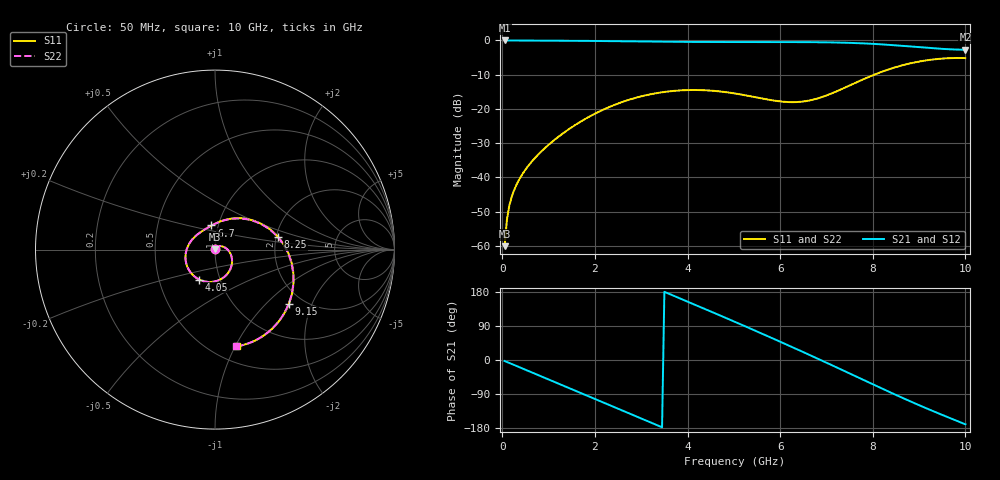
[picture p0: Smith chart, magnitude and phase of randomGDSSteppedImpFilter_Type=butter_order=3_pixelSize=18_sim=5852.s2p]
! freq	dB(S11)	phase(S11)	dB(S12)	phase(S12)
!  dB(S21)	phase(S21)	dB(S22)	phase(S22)
!S-par simulation data
#  GHz  S  DB  R 50
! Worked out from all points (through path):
!   200 points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, 50 MHz to 10 GHz, reference 50 ohm
!   highest |S21| = 0.00 dB at 50 MHz (marker M1); lowest = -2.7 dB at 10 GHz (marker M2)
!   group delay of S21, straight-line fit = 148 ps
!   lowest |S11| = -60.1 dB at 50 MHz (marker M3), VSWR 1.00, Z = 50 + j0.0925 ohm
!   |S11| at or under -10 dB: start of sweep to 8.033 GHz
!   |S22| runs from -56.4 to -5.1 dB; largest |S21 - S12| = 0
!   S11 on the Smith chart (normalised r, x): 50 MHz: 1.00, +0.00; 4.05 GHz: 0.80, -0.28; 6.7 GHz: 0.93, +0.25; 8.25 GHz: 2.05, +0.33; 9.15 GHz: 1.68, -1.38; 10 GHz: 0.65, -1.01
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0.05  -60.11 69.5  -0.00 -2.6  -0.00 -2.6  -56.36 68.5
0.1  -52.39 70.3  -0.01 -5.2  -0.01 -5.2  -51.60 72.3
0.15  -48.34 74.1  -0.02 -7.8  -0.02 -7.8  -48.41 73.6
0.4  -39.82 68.5  -0.04 -20.6  -0.04 -20.6  -39.89 67.2
1.1  -29.35 34.2  -0.07 -56.5  -0.07 -56.5  -29.34 34.4
1.75  -23.25 1.1  -0.12 -89.9  -0.12 -89.9  -23.26 1.1
2.5  -18.43 -37.7  -0.22 -128.5  -0.22 -128.5  -18.44 -37.7
2.95  -16.51 -60.9  -0.28 -151.8  -0.28 -151.8  -16.51 -61.0
3.4  -15.25 -84.1  -0.35 -175.0  -0.35 -175.0  -15.25 -84.1
4.05  -14.49 -117.4  -0.43 151.5  -0.43 151.5  -14.49 -117.5
4.6  -14.76 -145.8  -0.46 122.9  -0.46 122.9  -14.77 -146.0
5.05  -15.55 -169.4  -0.46 99.3  -0.46 99.3  -15.56 -169.7
5.4  -16.42 171.9  -0.46 80.7  -0.46 80.7  -16.42 171.4
5.8  -17.43 149.9  -0.45 59.1  -0.45 59.1  -17.44 149.2
6.3  -18.03 121.4  -0.47 31.9  -0.47 31.9  -18.03 120.5
6.7  -17.34 98.3  -0.50 9.7  -0.50 9.7  -17.34 97.3
7.4  -13.78 58.5  -0.66 -29.7  -0.66 -29.7  -13.78 57.7
7.85  -11.03 33.2  -0.89 -55.4  -0.89 -55.4  -11.03 32.6
8.25  -8.89 11.1  -1.20 -78.2  -1.20 -78.2  -8.89 10.5
8.35  -8.43 5.6  -1.29 -83.8  -1.29 -83.8  -8.43 5.1
9.15  -5.83 -36.4  -2.14 -127.1  -2.14 -127.1  -5.84 -36.8
10  -5.16 -77.4  -2.72 -169.7  -2.72 -169.7  -5.16 -77.7
